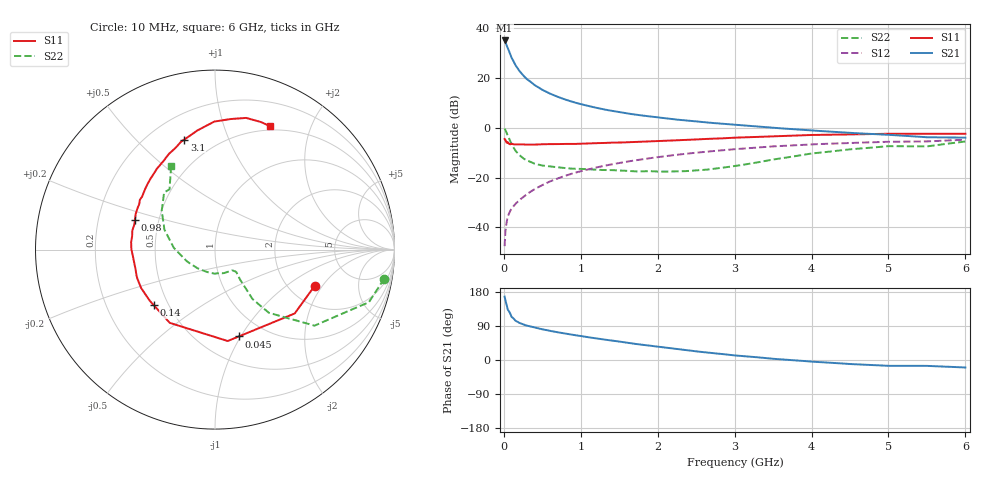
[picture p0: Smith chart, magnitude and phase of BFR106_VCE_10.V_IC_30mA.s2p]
! Infineon Technologies  Discrete & RF Semiconductors
! BFR106
! VCE =  10. V,  IC =  30 mA
! Common Emitter S-Parameters:  Nov 2015
# GHz  S  MA  R  50
!  f  S11  S21  S12  S22
! GHz  MAG  ANG  MAG  ANG  MAG  ANG  MAG  ANG
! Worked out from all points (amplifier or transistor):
!   210 points, 10 MHz to 6 GHz, reference 50 ohm
!   highest |S21| = 35.0 dB at 10 MHz (marker M1)
!   |S21| within 3 dB of that: start of sweep to 50.06 MHz
!   unconditionally stable (mu >= 1): 342.2 MHz to 2.178 GHz
!   at 185 MHz: K = 0.82, MSG = 26.6 dB, |S12| = -29.6 dB
!   at 1.52 GHz: K = 1.06, MAG = 8.7 dB, |S12| = -14.1 dB
!   at 6 GHz: K = 0.98, MSG = 0.4 dB, |S12| = -4.8 dB
!   S11 on the Smith chart (normalised r, x): 10 MHz: 2.74, -1.69; 45 MHz: 0.76, -0.98; 140 MHz: 0.42, -0.33; 980 MHz: 0.37, +0.16; 3.1 GHz: 0.34, +0.70; 6 GHz: 0.45, +1.44
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0.01  0.5912 -19.9  56.09 167.2  0.0042 83.5  0.9569 -9.7
0.02  0.5691 -38.7  52.73 157.0  0.0082 73.0  0.906 -18.9
0.045  0.5017 -74.6  41.3 138.1  0.0149 62.7  0.7262 -33.6
0.05  0.5142 -82.1  39.73 133.2  0.0163 61.7  0.6977 -37.4
0.1  0.4797 -121.7  25.37 113.9  0.024 55.9  0.4615 -49.6
0.14  0.4608 -137.8  19.36 106.4  0.0284 57.6  0.368 -52.0
0.15  0.4619 -141.9  17.93 103.8  0.0295 58.0  0.3448 -52.8
0.2  0.4638 -152.4  13.87 98.1  0.035 60.5  0.2841 -51.8
0.24  0.4619 -158.9  11.72 94.7  0.0392 62.5  0.251 -51.0
0.3  0.4562 -165.9  9.397 90.6  0.0464 65.1  0.2205 -50.2
0.4  0.4574 -174.1  7.14 85.6  0.0583 67.7  0.1895 -47.8
0.5  0.4659 179.8  5.734 81.0  0.0704 68.4  0.1739 -46.6
0.6  0.4691 175.0  4.814 76.9  0.0835 68.7  0.1672 -46.9
0.8  0.4729 166.9  3.651 69.7  0.1085 68.1  0.1535 -49.5
0.98  0.4758 159.5  3.018 63.9  0.1312 67.1  0.1494 -53.0
1.02  0.4788 158.1  2.909 62.6  0.1362 66.8  0.1486 -54.3
1.4  0.5021 146.5  2.175 51.4  0.1834 63.0  0.1409 -67.0
2.02  0.5399 130.0  1.588 34.6  0.2586 55.4  0.1317 -97.8
3.1  0.6368 105.6  1.111 10.5  0.3794 40.3  0.1789 -163.9
4.1  0.7164 88.8  0.859 -5.4  0.4688 25.5  0.3143 155.0
5.1  0.7534 75.4  0.704 -15.4  0.5227 12.1  0.4248 130.8
6  0.7533 66.2  0.631 -19.8  0.5739 1.6  0.528 117.5
